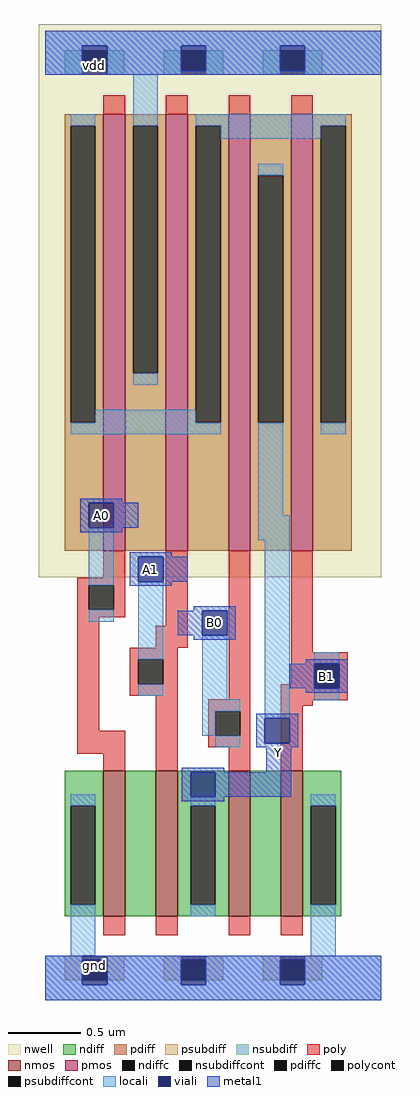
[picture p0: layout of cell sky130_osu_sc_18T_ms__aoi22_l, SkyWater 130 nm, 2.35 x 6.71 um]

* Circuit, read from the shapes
.subckt sky130_osu_sc_18T_ms__aoi22_l A0 B0 Y A1
XM1 n1 A0 gnd gnd sky130_fd_pr__nfet_01v8 w=1 l=0.15
XM2 Y A1 n1 gnd sky130_fd_pr__nfet_01v8 w=1 l=0.15
XM3 n2 B0 Y gnd sky130_fd_pr__nfet_01v8 w=1 l=0.15
XM4 gnd B1 n2 gnd sky130_fd_pr__nfet_01v8 w=1 l=0.15
XM5 vdd A0 n3 vdd sky130_fd_pr__pfet_01v8 w=3 l=0.15
XM6 n3 A1 vdd vdd sky130_fd_pr__pfet_01v8 w=3 l=0.15
XM7 Y B0 n3 vdd sky130_fd_pr__pfet_01v8 w=3 l=0.15
XM8 n3 B1 Y vdd sky130_fd_pr__pfet_01v8 w=3 l=0.15
.ends

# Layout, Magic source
magic
tech sky130A
magscale 1 2
<< nwell >>
rect -9 581 462 1341
<< nmos >>
rect 80 115 110 315
rect 152 115 182 315
rect 252 115 282 315
rect 324 115 354 315
<< pmos >>
rect 80 617 110 1217
rect 166 617 196 1217
rect 252 617 282 1217
rect 338 617 368 1217
<< ndiff >>
rect 27 267 80 315
rect 27 131 35 267
rect 69 131 80 267
rect 27 115 80 131
rect 110 115 152 315
rect 182 267 252 315
rect 182 131 200 267
rect 234 131 252 267
rect 182 115 252 131
rect 282 115 324 315
rect 354 267 407 315
rect 354 131 365 267
rect 399 131 407 267
rect 354 115 407 131
<< pdiff >>
rect 27 1201 80 1217
rect 27 793 35 1201
rect 69 793 80 1201
rect 27 617 80 793
rect 110 1201 166 1217
rect 110 861 121 1201
rect 155 861 166 1201
rect 110 617 166 861
rect 196 1201 252 1217
rect 196 793 207 1201
rect 241 793 252 1201
rect 196 617 252 793
rect 282 1133 338 1217
rect 282 793 293 1133
rect 327 793 338 1133
rect 282 617 338 793
rect 368 1201 421 1217
rect 368 793 379 1201
rect 413 793 421 1201
rect 368 617 421 793
<< ndiffc >>
rect 35 131 69 267
rect 200 131 234 267
rect 365 131 399 267
<< pdiffc >>
rect 35 793 69 1201
rect 121 861 155 1201
rect 207 793 241 1201
rect 293 793 327 1133
rect 379 793 413 1201
<< psubdiff >>
rect 27 27 51 61
rect 85 27 109 61
rect 163 27 187 61
rect 221 27 245 61
rect 299 27 323 61
rect 357 27 381 61
<< nsubdiff >>
rect 27 1271 51 1305
rect 85 1271 109 1305
rect 163 1271 187 1305
rect 221 1271 245 1305
rect 299 1271 323 1305
rect 357 1271 381 1305
<< psubdiffcont >>
rect 51 27 85 61
rect 187 27 221 61
rect 323 27 357 61
<< nsubdiffcont >>
rect 51 1271 85 1305
rect 187 1271 221 1305
rect 323 1271 357 1305
<< poly >>
rect 80 1217 110 1243
rect 166 1217 196 1243
rect 252 1217 282 1243
rect 338 1217 368 1243
rect 80 580 110 617
rect 44 570 110 580
rect 44 536 60 570
rect 94 536 110 570
rect 44 526 110 536
rect 44 370 74 526
rect 166 514 196 617
rect 152 484 196 514
rect 116 468 182 484
rect 116 434 128 468
rect 162 434 182 468
rect 116 418 182 434
rect 44 338 110 370
rect 80 315 110 338
rect 152 315 182 418
rect 252 413 282 617
rect 338 478 368 617
rect 338 462 416 478
rect 338 434 370 462
rect 224 397 282 413
rect 224 363 234 397
rect 268 363 282 397
rect 224 347 282 363
rect 252 315 282 347
rect 324 428 370 434
rect 404 428 416 462
rect 324 412 416 428
rect 324 404 368 412
rect 324 315 354 404
rect 80 89 110 115
rect 152 89 182 115
rect 252 89 282 115
rect 324 89 354 115
<< polycont >>
rect 60 536 94 570
rect 128 434 162 468
rect 234 363 268 397
rect 370 428 404 462
<< locali >>
rect 0 1311 462 1332
rect 0 1271 51 1311
rect 85 1271 187 1311
rect 221 1271 323 1311
rect 357 1271 462 1311
rect 35 1201 69 1217
rect 121 1201 155 1271
rect 121 845 155 861
rect 207 1201 413 1217
rect 69 793 207 811
rect 241 1183 379 1201
rect 35 777 241 793
rect 293 1133 327 1149
rect 60 570 94 649
rect 293 666 327 793
rect 379 777 413 793
rect 293 632 336 666
rect 60 520 94 536
rect 128 468 162 575
rect 128 418 162 434
rect 216 413 250 501
rect 216 397 268 413
rect 216 363 234 397
rect 234 347 268 363
rect 302 387 336 632
rect 370 462 404 478
rect 370 412 404 428
rect 35 267 69 283
rect 35 61 69 131
rect 200 267 234 279
rect 200 115 234 131
rect 365 267 399 283
rect 365 61 399 131
rect 0 21 51 61
rect 85 21 187 61
rect 221 21 323 61
rect 357 21 462 61
rect 0 0 462 21
<< viali >>
rect 51 1305 85 1311
rect 51 1277 85 1305
rect 187 1305 221 1311
rect 187 1277 221 1305
rect 323 1305 357 1311
rect 323 1277 357 1305
rect 60 649 94 683
rect 128 575 162 609
rect 216 501 250 535
rect 370 428 404 462
rect 302 353 336 387
rect 200 279 234 313
rect 51 27 85 55
rect 51 21 85 27
rect 187 27 221 55
rect 187 21 221 27
rect 323 27 357 55
rect 323 21 357 27
<< metal1 >>
rect 0 1311 462 1332
rect 0 1277 51 1311
rect 85 1277 187 1311
rect 221 1277 323 1311
rect 357 1277 462 1311
rect 0 1271 462 1277
rect 48 683 106 689
rect 48 649 60 683
rect 94 649 128 683
rect 48 643 106 649
rect 116 609 174 615
rect 116 575 128 609
rect 162 575 196 609
rect 116 569 174 575
rect 204 535 262 541
rect 182 501 216 535
rect 250 501 262 535
rect 204 495 262 501
rect 358 462 416 468
rect 336 428 370 462
rect 404 428 416 462
rect 358 422 416 428
rect 290 387 348 393
rect 290 353 302 387
rect 336 353 348 387
rect 290 347 348 353
rect 188 313 246 319
rect 304 313 338 347
rect 188 279 200 313
rect 234 279 338 313
rect 188 273 246 279
rect 0 55 462 61
rect 0 21 51 55
rect 85 21 187 55
rect 221 21 323 55
rect 357 21 462 55
rect 0 0 462 21
<< labels >>
rlabel viali 77 666 77 666 1 A0
port 1 n
rlabel metal1 233 518 233 518 1 B0
port 2 n
rlabel viali 145 592 145 592 1 A1
port 4 n
rlabel viali 387 445 387 445 1 B1
rlabel metal1 321 340 321 340 1 Y
port 3 n
rlabel viali 68 48 68 48 1 gnd
rlabel viali 68 1284 68 1284 1 vdd
<< end >>
